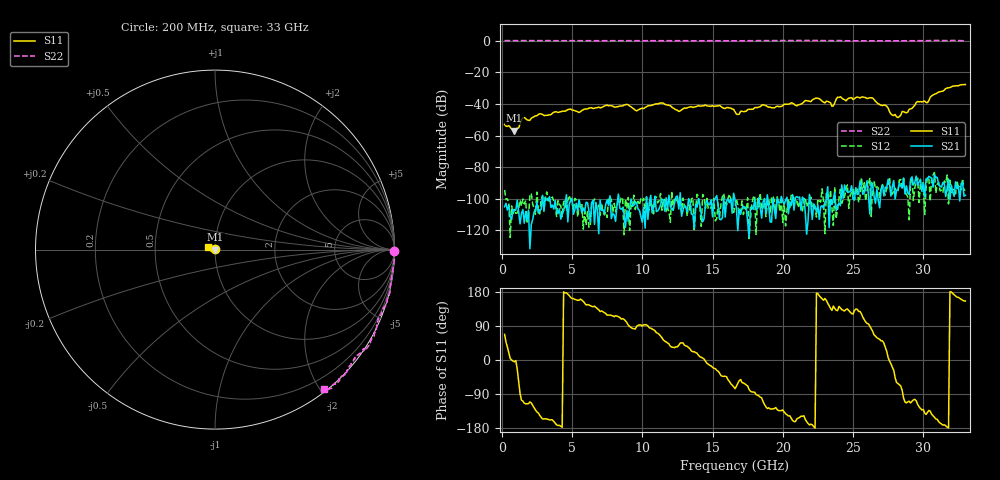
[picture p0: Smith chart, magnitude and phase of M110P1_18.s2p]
# GHZ S RI R 50
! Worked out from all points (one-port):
!   329 points, 200 MHz to 33 GHz, reference 50 ohm
!   lowest |S11| = -56.9 dB at 900 MHz (marker M1), VSWR 1.00, Z = 50.1 - j0.0116 ohm
!   |S11| at or under -10 dB: start of sweep to end of sweep
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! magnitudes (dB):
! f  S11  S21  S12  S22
! 200 MHz  -53.0  -105.0  -94.4  0.0
! 900 MHz  -56.9  -107.5  -106.7  0.0
! 1.6 GHz  -48.6  -115.4  -103.3  0.0
! 5.7 GHz  -44.1  -108.8  -103.6  0.0
! 8.9 GHz  -40.3  -107.3  -105.7  0.0
! 9.6 GHz  -44.4  -102.9  -102.9  0.0
! 11.2 GHz  -39.6  -106.2  -101.1  0.0
! 12.6 GHz  -44.8  -106.4  -104.4  0.0
! 14.5 GHz  -40.7  -103.2  -106.0  -0.1
! 16.6 GHz  -44.9  -100.3  -105.0  -0.1
! 21 GHz  -41.2  -98.5  -101.4  0.0
! 22.1 GHz  -37.5  -113.0  -105.8  0.1
! 22.6 GHz  -36.6  -113.0  -101.5  0.0
! 23.5 GHz  -41.5  -103.6  -106.0  0.0
! 23.9 GHz  -35.8  -104.6  -106.9  0.0
! 26.3 GHz  -36.1  -89.5  -111.2  -0.1
! 27.6 GHz  -44.9  -90.6  -86.5  -0.1
! 28.2 GHz  -48.6  -94.2  -95.6  0.0
! 29.6 GHz  -38.4  -91.5  -86.9  0.0
! 30.3 GHz  -39.2  -87.6  -86.3  0.0
! 31.6 GHz  -30.3  -98.5  -89.7  0.0
! 33 GHz  -27.7  -97.7  -94.4  -0.1
